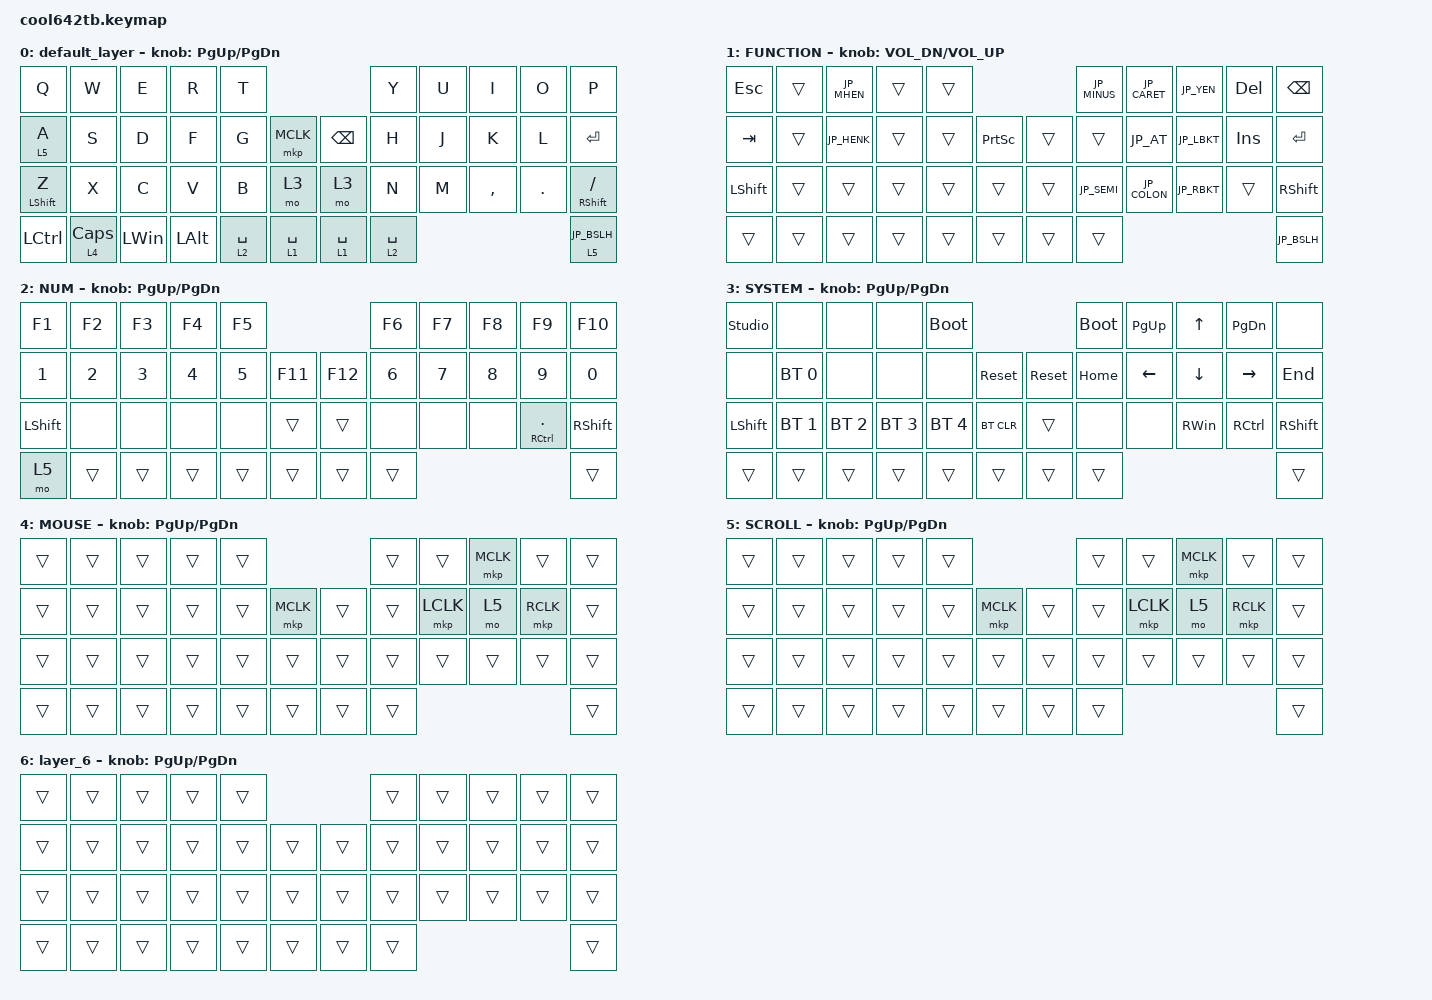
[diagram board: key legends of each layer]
#include <behaviors.dtsi>
#include <dt-bindings/zmk/bt.h>
#include <dt-bindings/zmk/keys.h>
#include <dt-bindings/zmk/pointing.h>
#include "keycode_japanese.h"

#define ZMK_MOUSE_DEFAULT_SCRL_VAL 100
#define MOUSE 4
#define SCROLL 5
#define NUM 6

&mt {
    flavor = "balanced";
    quick-tap-ms = <0>;
    tapping-term-ms = <200>;
};

/ {
    combos {
        compatible = "zmk,combos";

        COMBO_ESC {
            bindings = <&kp ESCAPE>;
            key-positions = <0 1>;
        };

        COMBO_TAB {
            bindings = <&kp TAB>;
            key-positions = <10 11>;
        };

        WIN_TAB {
            bindings = <&kp LG(TAB)>;
            key-positions = <5 17>;
        };

        COMBO_ZENHAN {
            bindings = <&kp JP_ZKHK>;
            key-positions = <22 23>;
        };

        COMBO_BS {
            bindings = <&kp BACKSPACE>;
            key-positions = <8 9>;
        };

        COMBO_DEL {
            bindings = <&kp DELETE>;
            key-positions = <7 8>;
        };

        COMBO_INS {
            bindings = <&kp INSERT>;
            key-positions = <5 6>;
        };

        COMBO_MINUS {
            bindings = <&kp JP_MINUS>;
            key-positions = <18 19>;
        };
    };

    macros {
        to_layer_0: to_layer_0 {
            compatible = "zmk,behavior-macro-one-param";
            #binding-cells = <1>;
            bindings = <&to 0 &macro_param_1to1 &kp MACRO_PLACEHOLDER>;
            label = "TO_LAYER_0";
        };
    };

    behaviors {
        lt_to_layer_0: lt_to_layer_0 {
            compatible = "zmk,behavior-hold-tap";
            label = "LAYER_TAP_TO_0";
            bindings = <&mo>, <&to_layer_0>;

            #binding-cells = <2>;
            tapping-term-ms = <200>;
        };

        scroll_up_down: behavior_sensor_rotate_mouse_wheel_up_down {
            compatible = "zmk,behavior-sensor-rotate";
            #sensor-binding-cells = <0>;
            bindings = <&msc SCRL_UP>, <&msc SCRL_DOWN>;

            tap-ms = <20>;
        };
    };

    // エンコーダー：キー

    rot_kp: sensor_rotate_kp {
        compatible = "zmk,behavior-sensor-rotate-var";
        #sensor-binding-cells = <2>;
        bindings = <&kp>, <&kp>;
    };

    // エンコーダー：マウススクロール 

    rot_msc: sensor_rotate_msc {
        compatible = "zmk,behavior-sensor-rotate-var";
        #sensor-binding-cells = <2>;
        tap-ms = <20>;
        bindings = <&msc>, <&msc>;
    };

    // エンコーダー：マウススクロール(MOVE_Y)

    scroll_move_y: sensor_rotate_msc_for_move_y {
        compatible = "zmk,behavior-sensor-rotate";
        #sensor-binding-cells = <0>;
        bindings = <&msc MOVE_Y(20)>, <&msc MOVE_Y(-20)>;

        // tap-ms下限メモ Yの値で可変: Y(15) <81>, Y(20) <65>, Y(25) <49>

        tap-ms = <65>;
    };

    // エンコーダー：マウススクロール(MOVE_X)

    scroll_move_x: sensor_rotate_msc_for_move_x {
        compatible = "zmk,behavior-sensor-rotate";
        #sensor-binding-cells = <0>;
        bindings = <&msc MOVE_X(20)>, <&msc MOVE_X(-20)>;

        // tap-ms下限メモ Xの値で可変: X(15) <81>, X(20) <65>, X(25) <49>

        tap-ms = <65>;
    };

    keymap {
        compatible = "zmk,keymap";

        default_layer {
            bindings = <
&kp Q             &kp W       &kp E         &kp R         &kp T                                    &kp Y        &kp U  &kp I      &kp O    &kp P
&lt 5 A           &kp S       &kp D         &kp F         &kp G        &mkp MCLK    &kp BACKSPACE  &kp H        &kp J  &kp K      &kp L    &kp ENTER
&mt LEFT_SHIFT Z  &kp X       &kp C         &kp V         &kp B        &mo 3        &mo 3          &kp N        &kp M  &kp COMMA  &kp DOT  &mt RIGHT_SHIFT SLASH
&kp LEFT_CONTROL  &lt 4 CAPS  &kp LEFT_WIN  &kp LEFT_ALT  &lt 2 SPACE  &lt 1 SPACE  &lt 1 SPACE    &lt 2 SPACE                             &lt 5 JP_BSLH
            >;

            sensor-bindings = <&inc_dec_kp PG_UP PAGE_DOWN>;
        };

        FUNCTION {
            bindings = <
&kp ESC         &trans  &kp JP_MHEN  &trans  &trans                           &kp JP_MINUS  &kp JP_CARET  &kp JP_YEN   &kp DELETE  &kp BACKSPACE
&kp TAB         &trans  &kp JP_HENK  &trans  &trans  &kp PRINTSCREEN  &trans  &trans        &kp JP_AT     &kp JP_LBKT  &kp INSERT  &kp ENTER
&kp LEFT_SHIFT  &trans  &trans       &trans  &trans  &trans           &trans  &kp JP_SEMI   &kp JP_COLON  &kp JP_RBKT  &trans      &kp RIGHT_SHIFT
&trans          &trans  &trans       &trans  &trans  &trans           &trans  &trans                                               &kp JP_BSLH
            >;

            sensor-bindings = <&inc_dec_kp C_VOL_DN C_VOL_UP>;
        };

        NUM {
            bindings = <
&kp F1          &kp F2  &kp F3  &kp F4  &kp F5                    &kp F6  &kp F7  &kp F8  &kp F9            &kp F10
&kp N1          &kp N2  &kp N3  &kp N4  &kp N5  &kp F11  &kp F12  &kp N6  &kp N7  &kp N8  &kp N9            &kp N0
&kp LEFT_SHIFT  &none   &none   &none   &none   &trans   &trans   &none   &none   &none   &mt RCTRL PERIOD  &kp RIGHT_SHIFT
&mo 5           &trans  &trans  &trans  &trans  &trans   &trans   &trans                                    &trans
            >;

            sensor-bindings = <&inc_dec_kp PG_UP PAGE_DOWN>;
        };

        SYSTEM {
            bindings = <
&studio_unlock  &none         &none         &none         &bootloader                           &bootloader  &kp PAGE_UP     &kp UP_ARROW    &kp PAGE_DOWN    &none
&none           &bt BT_SEL 0  &none         &none         &none         &sys_reset  &sys_reset  &kp HOME     &kp LEFT_ARROW  &kp DOWN_ARROW  &kp RIGHT_ARROW  &kp END
&kp LEFT_SHIFT  &bt BT_SEL 1  &bt BT_SEL 2  &bt BT_SEL 3  &bt BT_SEL 4  &bt BT_CLR  &trans      &none        &none           &kp RIGHT_WIN   &kp RCTRL        &kp RIGHT_SHIFT
&trans          &trans        &trans        &trans        &trans        &trans      &trans      &trans                                                        &trans
            >;

            sensor-bindings = <&inc_dec_kp PG_UP PAGE_DOWN>;
        };

        MOUSE {
            bindings = <
&trans  &trans  &trans  &trans  &trans                     &trans  &trans     &mkp MCLK  &trans     &trans
&trans  &trans  &trans  &trans  &trans  &mkp MCLK  &trans  &trans  &mkp LCLK  &mo 5      &mkp RCLK  &trans
&trans  &trans  &trans  &trans  &trans  &trans     &trans  &trans  &trans     &trans     &trans     &trans
&trans  &trans  &trans  &trans  &trans  &trans     &trans  &trans                                   &trans
            >;

            sensor-bindings = <&inc_dec_kp PG_UP PAGE_DOWN>;
        };

        SCROLL {
            bindings = <
&trans  &trans  &trans  &trans  &trans                     &trans  &trans     &mkp MCLK  &trans     &trans
&trans  &trans  &trans  &trans  &trans  &mkp MCLK  &trans  &trans  &mkp LCLK  &mo 5      &mkp RCLK  &trans
&trans  &trans  &trans  &trans  &trans  &trans     &trans  &trans  &trans     &trans     &trans     &trans
&trans  &trans  &trans  &trans  &trans  &trans     &trans  &trans                                   &trans
            >;

            sensor-bindings = <&inc_dec_kp PG_UP PAGE_DOWN>;
        };

        layer_6 {
            bindings = <
&trans  &trans  &trans  &trans  &trans                  &trans  &trans  &trans  &trans  &trans
&trans  &trans  &trans  &trans  &trans  &trans  &trans  &trans  &trans  &trans  &trans  &trans
&trans  &trans  &trans  &trans  &trans  &trans  &trans  &trans  &trans  &trans  &trans  &trans
&trans  &trans  &trans  &trans  &trans  &trans  &trans  &trans                          &trans
            >;

            sensor-bindings = <&inc_dec_kp PG_UP PAGE_DOWN>;
        };
    };
};
